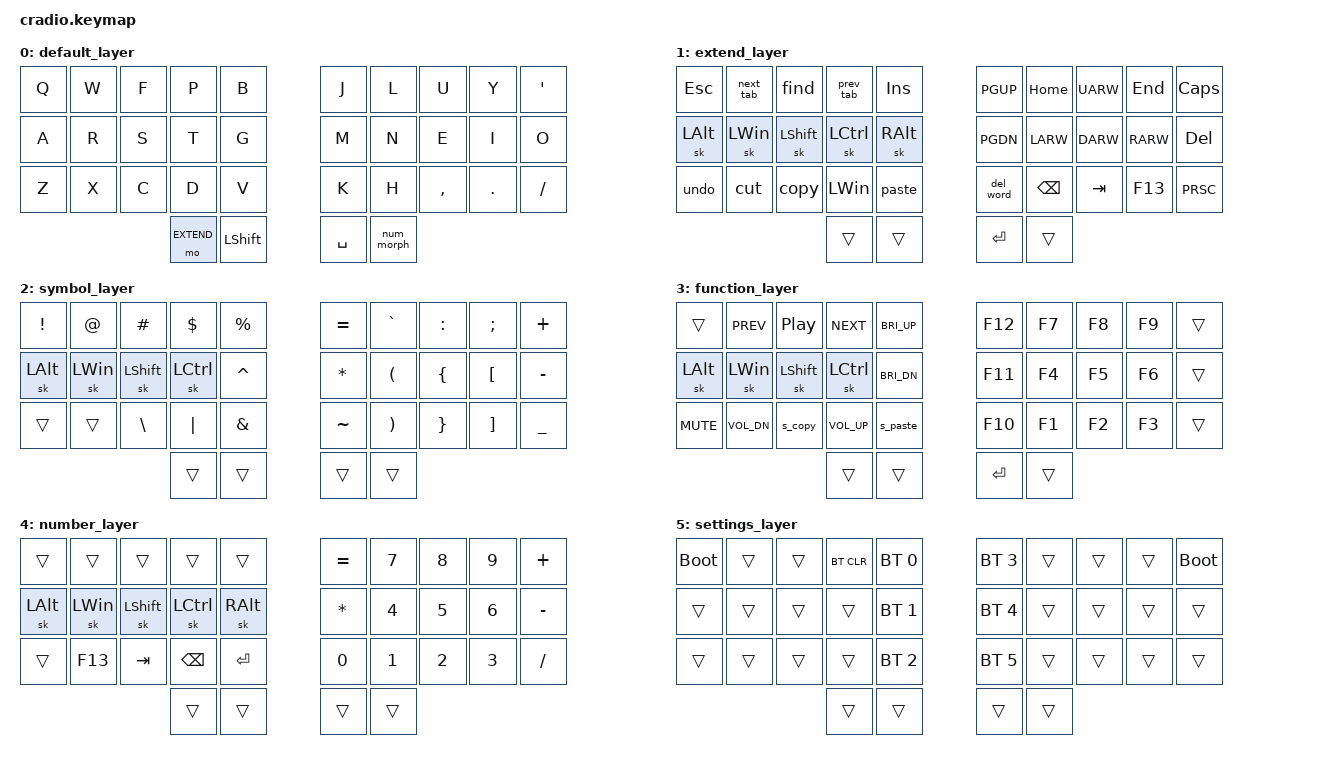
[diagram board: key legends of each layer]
// Copyright (c) 2022 The ZMK Contributors
// SPDX-License-Identifier: MIT

#include <behaviors.dtsi>
#include <dt-bindings/zmk/keys.h>
#include <dt-bindings/zmk/bt.h>

#define EXTEND 1
#define SYMBOL 2
#define FUNC 3
#define NUMBER 4
#define SETTING 5

/ {
    macros {
        del_word: delete_word {
            compatible = "zmk,behavior-macro";
            label = "del_word";
            #binding-cells = <0>;
            bindings 
                = <&macro_press &kp LCTRL>
                , <&macro_tap &kp BSPC>
                , <&macro_release &kp LCTRL>;
        };
        copy: copy {
            compatible = "zmk,behavior-macro";
            label = "copy";
            #binding-cells = <0>;
            bindings 
                = <&macro_press &kp LCTRL>
                , <&macro_tap &kp C>
                , <&macro_release &kp LCTRL>;
        };
        paste: paste {
            compatible = "zmk,behavior-macro";
            label = "paste";
            #binding-cells = <0>;
            bindings 
                = <&macro_press &kp LCTRL>
                , <&macro_tap &kp V>
                , <&macro_release &kp LCTRL>;
        };
        cut: cut {
            compatible = "zmk,behavior-macro";
            label = "cut";
            #binding-cells = <0>;
            bindings 
                = <&macro_press &kp LCTRL>
                , <&macro_tap &kp X>
                , <&macro_release &kp LCTRL>;
        };
        undo: undo {
            compatible = "zmk,behavior-macro";
            label = "undo";
            #binding-cells = <0>;
            bindings 
                = <&macro_press &kp LCTRL>
                , <&macro_tap &kp Z>
                , <&macro_release &kp LCTRL>;
        };
        find: find {
            compatible = "zmk,behavior-macro";
            label = "find";
            #binding-cells = <0>;
            bindings 
                = <&macro_press &kp LCTRL>
                , <&macro_tap &kp F>
                , <&macro_release &kp LCTRL>;
        };
        next_tab: next_tab {
            compatible = "zmk,behavior-macro";
            label = "next_tab";
            #binding-cells = <0>;
            bindings 
                = <&macro_press &kp LCTRL>
                , <&macro_tap &kp TAB>
                , <&macro_release &kp LCTRL>;
        };
        prev_tab: prev_tab {
            compatible = "zmk,behavior-macro";
            label = "prev_tab";
            #binding-cells = <0>;
            bindings 
                = <&macro_press &kp LCTRL>
                , <&macro_press &kp LSHIFT>
                , <&macro_tap &kp TAB>
                , <&macro_release &kp LSHIFT>
                , <&macro_release &kp LCTRL>;
        };
        s_copy: shift_copy {
            compatible = "zmk,behavior-macro";
            label = "s_copy";
            #binding-cells = <0>;
            bindings 
                = <&macro_press &kp LCTRL>
                , <&macro_press &kp LSHIFT>
                , <&macro_tap &kp C>
                , <&macro_release &kp LSHIFT>
                , <&macro_release &kp LCTRL>;
        };
        s_paste: shift_paste {
            compatible = "zmk,behavior-macro";
            label = "s_paste";
            #binding-cells = <0>;
            bindings 
                = <&macro_press &kp LCTRL>
                , <&macro_press &kp LSHIFT>
                , <&macro_tap &kp V>
                , <&macro_release &kp LSHIFT>
                , <&macro_release &kp LCTRL>;
        };
    };

    behaviors {
        num_morph: num_layer_morph {
            compatible = "zmk,behavior-mod-morph";
            label = "num_morph";
            #binding-cells = <0>;
            bindings = <&mo SYMBOL>, <&mo NUMBER>;
            mods = <(MOD_LSFT)>;
        };   
    };

    conditional_layers {
        compatible = "zmk,conditional-layers";
        function_layer {
            if-layers = <EXTEND SYMBOL>;
            then-layer = <FUNC>;
        };
        settings_layer {
            if-layers = <EXTEND NUMBER>;
            then-layer = <SETTING>;
        };
    };

    keymap {
        compatible = "zmk,keymap";
        default_layer {
            bindings = <
        //╭──────────┬──────────┬──────────┬──────────┬──────────╮   ╭──────────┬──────────┬──────────┬──────────┬──────────╮
        //│  Q       │  W       │  F       │  P       │  B       │   │  J       │  L       │  U       │  Y       │  ' "     │
            &kp Q      &kp W      &kp F      &kp P      &kp B          &kp J      &kp L      &kp U      &kp Y      &kp QUOT
        //├──────────┼──────────┼──────────┼──────────┼──────────┤   ├──────────┼──────────┼──────────┼──────────┼──────────┤
        //│  A       │  R       │  S       │  T       │  G       │   │  M       │  N       │  E       │  I       │   O      │
            &kp A      &kp  R     &kp  S      &kp T      &kp G          &kp M      &kp N      &kp E       &kp I      &kp O
        //├──────────┼──────────┼──────────┼──────────┼──────────┤   ├──────────┼──────────┼──────────┼──────────┼──────────┤
        //│  Z       │  X       │  C       │  D       │  V       │   │  K       │  H       │ , <      │ . >      │ / ?      │
            &kp Z      &kp X      &kp C      &kp D      &kp V          &kp K      &kp H      &kp COMMA  &kp DOT    &kp FSLH
        //╰──────────┴──────────┴──────────┼──────────┼──────────┤   ├──────────┼──────────┼──────────┴──────────┴──────────╯
        //                                 │  EXT     │  SHIFT   │   │  SPACE   │  SYM     │
                                            &mo EXTEND &kp LSHIFT     &kp SPACE  &num_morph
        //                                 ╰──────────┴──────────╯   ╰──────────┴──────────╯
            >;
        };

        extend_layer {
            bindings = <
        //╭──────────┬──────────┬──────────┬──────────┬──────────╮   ╭──────────┬──────────┬──────────┬──────────┬──────────╮
        //│ ESC      │ NEXT TAB │  FIND    │ PREV TAB │ INSERT   │   │ PAGE UP  │ HOME     │ UP       │ END      │ CAPS     │
            &kp ESC   &next_tab  &find     &prev_tab    &kp INS        &kp PGUP   &kp HOME   &kp UARW   &kp END    &kp CAPS
        //├──────────┼──────────┼──────────┼──────────┼──────────┤   ├──────────┼──────────┼──────────┼──────────┼──────────┤
        //│ ALT      │ WIN      │ SHIFT    │ CTRL     │ ALT GR   │   │ PAGE DOWN│ LEFT     │ DOWN     │ RIGHT    │ DELETE   │
            &sk LALT  &sk LWIN   &sk LSHIFT &sk LCTRL  &sk RALT        &kp PGDN   &kp LARW   &kp DARW   &kp RARW   &kp DEL
        //├──────────┼──────────┼──────────┼──────────┼──────────┤   ├──────────┼──────────┼──────────┼──────────┼──────────┤
        //│ UNDO     │ CUT      │ COPY     │ WIN      │ PASTE    |   |DELETE_WRD│BACKSPACE│ TAB       │ COMPOSE  │ PRINTSCRN│
           &undo      &cut       &copy      &kp LWIN   &paste         &del_word  &kp BSPC   &kp TAB    &kp F13    &kp PRSC
        //╰──────────┴──────────┴──────────┼──────────┼──────────┤   ├──────────┼──────────┼──────────┴──────────┴──────────╯
                                             &trans     &trans        &kp ENTER     &trans
        //                                 ╰──────────┴──────────╯   ╰──────────┴──────────╯
            >;
        };

        symbol_layer {
            bindings = <
        //╭──────────┬──────────┬──────────┬──────────┬──────────╮   ╭──────────┬──────────┬──────────┬──────────┬──────────╮
        //│  !       │  @       │  #       │  $       │ %        │   │  =       │  `       │  :       │  ;       │  +       │
            &kp EXCL   &kp AT    &kp HASH   &kp DLLR   &kp PRCNT       &kp EQL   &kp GRAVE  &kp COLON  &kp SEMI   &kp PLUS
        //├──────────┼──────────┼──────────┼──────────┼──────────┤   ├──────────┼──────────┼──────────┼──────────┼──────────┤
        //│ ALT      │ WIN      │ SHIFT    │ CTRL     │ ^        │   │  *       │  (       │  {       │  [       │  -       │
            &sk LALT  &sk LWIN   &sk LSHIFT &sk LCTRL   &kp CARET      &kp ASTRK  &kp LPAR  &kp LBRC  &kp LBKT    &kp MINUS
        //├──────────┼──────────┼──────────┼──────────┼──────────┤   ├──────────┼──────────┼──────────┼──────────┼──────────┤
        //│          │          │  \       │  │       │ &        │   │  ~       │  )       │  }       │  ]       │  _       │
            &trans     &trans     &kp BSLH   &kp PIPE   &kp AMPS       &kp TILDE  &kp RPAR  &kp RBRC   &kp RBKT   &kp UNDER
        //╰──────────┴──────────┴──────────┼──────────┼──────────┤   ├──────────┼──────────┼──────────┴──────────┴──────────╯
                                             &trans     &trans         &trans     &trans
        //                                 ╰──────────┴──────────╯   ╰──────────┴──────────╯
            >;
        };

        function_layer {
            bindings = <
        //╭──────────┬──────────┬──────────┬──────────┬──────────╮   ╭──────────┬──────────┬──────────┬──────────┬──────────╮
        //│          │ PREVIOUS   PLAY     │ NEXT     │ BRIGHT   │   | F12      │ F7       │ F8       │ F9       │          │
           &trans     &kp C_PREV  &kp C_PP  &kp C_NEXT &kp C_BRI_UP    &kp F12    &kp F7     &kp F8     &kp F9     &trans
        //├──────────┼──────────┼──────────┼──────────┼──────────┤   ├──────────┼──────────┼──────────┼──────────┼──────────┤
        //│ ALT      │ WIN      │ SHIFT    │ CTRL     │ DIM      │   │ F11      │ F4       │ F5       │ F6       │          │
            &sk LALT  &sk LWIN   &sk LSHIFT &sk LCTRL  &kp C_BRI_DN    &kp F11    &kp F4     &kp F5     &kp F6     &trans
        //├──────────┼──────────┼──────────┼──────────┼──────────┤   ├──────────┼──────────┼──────────┼──────────┼──────────┤
        //│ MUTE     │ VOL DOWN │ SHFT_COPY│ VOL UP   │SHFT_PASTE│   │ F10      │ F1       │ F2       │ F3       │          │
          &kp C_MUTE &kp C_VOL_DN  &s_copy &kp C_VOL_UP  &s_paste        &kp F10    &kp F1     &kp F2     &kp F3     &trans
        //╰──────────┴──────────┴──────────┼──────────┼──────────┤   ├──────────┼──────────┼──────────┴──────────┴──────────╯
                                             &trans     &trans         &kp ENTER  &trans
        //                                 ╰──────────┴──────────╯   ╰──────────┴──────────╯
            >;
        };

        number_layer {
            bindings = <
        //╭──────────┬──────────┬──────────┬──────────┬──────────╮   ╭──────────┬──────────┬──────────┬──────────┬──────────╮
        //│          │          |          │          │          │   | =        │ 7        │ 8        │ 9        │ +        │
           &trans     &trans     &trans     &trans     &trans         &kp EQL    &kp N7      &kp N8     &kp N9    &kp PLUS
        //├──────────┼──────────┼──────────┼──────────┼──────────┤   ├──────────┼──────────┼──────────┼──────────┼──────────┤
        //│ ALT      │ WIN      │ SHIFT    │ CTRL     │ ALT GR   │   │ *        │ 4        │  5       │  6       │ -        │
            &sk LALT  &sk LWIN   &sk LSHIFT &sk LCTRL  &sk RALT       &kp ASTRK   &kp N4     &kp N5     &kp N6     &kp MINUS
        //├──────────┼──────────┼──────────┼──────────┼──────────┤   ├──────────┼──────────┼──────────┼──────────┼──────────┤
        //│          │ COMPOSE  │ TAB      │ BACKSPACE│ ENTER    │   │ 0        │  1       │  2       │  3       │ /        │
            &trans    &kp F13     &kp TAB   &kp BSPC    &kp ENTER      &kp N0    &kp N1     &kp N2      &kp N3      &kp FSLH
        //╰──────────┴──────────┴──────────┼──────────┼──────────┤   ├──────────┼──────────┼──────────┴──────────┴──────────╯
                                             &trans     &trans         &trans    &trans
        //                                 ╰──────────┴──────────╯   ╰──────────┴──────────╯
            >;
        };

        settings_layer {
            bindings = <
        //╭──────────┬──────────┬──────────┬──────────┬──────────╮   ╭──────────┬──────────┬──────────┬──────────┬──────────╮
        //│BOOTLOADER│          |          │ BLT CLEAR│ BLT 0    │   | BLT 3    │          │          │          │BOOTLOADER│
           &bootloader &trans     &trans     &bt BT_CLR &bt BT_SEL 0 &bt BT_SEL 3   &trans    &trans   &trans    &bootloader
        //├──────────┼──────────┼──────────┼──────────┼──────────┤   ├──────────┼──────────┼──────────┼──────────┼──────────┤
        //│          │          │          │          │ BLT 1    │   │ BLT 4    │          │          │          │          │
            &trans    &trans     &trans      &trans    &bt BT_SEL 1  &bt BT_SEL 4  &trans     &trans   &trans     &trans
        //├──────────┼──────────┼──────────┼──────────┼──────────┤   ├──────────┼──────────┼──────────┼──────────┼──────────┤
        //│          │          │          │          │ BLT 2    │   │ BLT 5    │          │          │          │          │
            &trans    &trans     &trans      &trans    &bt BT_SEL 2  &bt BT_SEL 5   &trans    &trans   &trans     &trans
        //╰──────────┴──────────┴──────────┼──────────┼──────────┤   ├──────────┼──────────┼──────────┴──────────┴──────────╯
                                             &trans     &trans         &trans    &trans
        //                                 ╰──────────┴──────────╯   ╰──────────┴──────────╯
            >;
        };
    };
};
